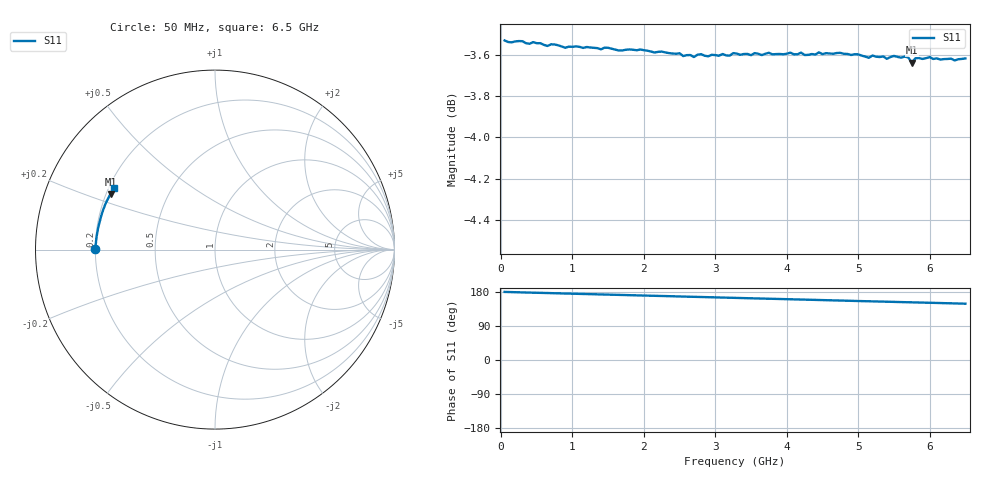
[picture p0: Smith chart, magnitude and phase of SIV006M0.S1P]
! (c) 1999  Infineon Technologies AG, Munich
! Infineon Technologies  Discrete & RF Semiconductors
! BAT24-02LS
! Si Schottky Diode in TSSLP-2
! IF = 6 mA
! S-Parameters:  July  2007
# GHz  S  MA  R  50
!  f  S11
! GHz  MAG  ANG
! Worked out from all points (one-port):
!   130 points, 50 MHz to 6.5 GHz, reference 50 ohm
!   lowest |S11| = -3.6 dB at 5.75 GHz (marker M1), VSWR 4.85, Z = 10.9 + j11.9 ohm
!   |S11| at or under -10 dB: nowhere
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0.05  0.6661 179.7
0.45  0.6655 177.6
0.9  0.6634 175.4
1.45  0.6635 172.8
1.6  0.6627 172.0
1.7  0.6624 171.6
1.85  0.6627 170.9
1.95  0.6628 170.3
2.5  0.6614 167.7
2.55  0.6603 167.4
2.85  0.6605 166.0
2.95  0.6608 165.4
3.1  0.6611 164.8
3.3  0.6612 163.8
3.75  0.6615 161.7
4.1  0.661 160.0
4.55  0.6614 157.9
4.9  0.6607 156.1
5.15  0.6597 155.0
5.2  0.6605 154.7
5.4  0.6593 153.9
5.5  0.6604 153.3
5.7  0.6598 152.4
5.75  0.6579 152.1
5.8  0.6595 151.9
6  0.6599 151.0
6.4  0.6592 149.2
6.5  0.6595 148.6
